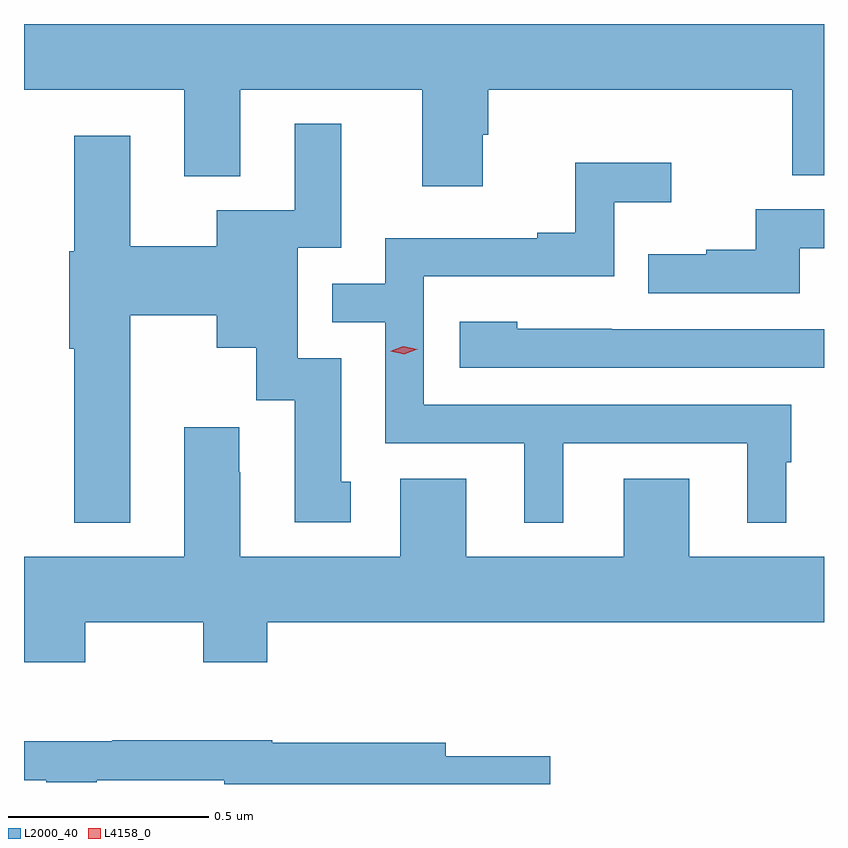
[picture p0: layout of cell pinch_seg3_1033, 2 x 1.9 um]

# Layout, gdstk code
import gdstk
lib = gdstk.Library(unit=1e-6, precision=1e-09)
def P(c, l, *ps):  # polygons
    for p in ps: c.add(gdstk.Polygon(p, *l))
L2000_40 = (2000, 40)
L4158_0 = (4158, 0)

pinch_seg3_1033 = lib.new_cell('pinch_seg3_1033')
P(pinch_seg3_1033, L2000_40, [(447.246,686.264),(447.647,686.264),(447.647,686.048),(447.787,686.048),(447.787,686.264),(448.241,686.264),(448.241,686.022),(448.393,686.022),(448.393,686.151),(448.406,686.151),(448.406,686.264),(449.166,686.264),(449.166,686.05),(449.246,686.05),(449.246,686.428),(447.246,686.428)],
  [(447.511,685.7),(447.728,685.7),(447.728,685.619),(447.827,685.619),(447.827,685.488),(447.923,685.488),(447.923,685.182),(448.063,685.182),(448.063,685.284),(448.039,685.284),(448.039,685.593),(447.93,685.593),(447.93,685.869),(448.039,685.869),(448.039,686.179),(447.923,686.179),(447.923,685.963),(447.728,685.963),(447.728,685.872),(447.511,685.872),(447.511,686.149),(447.371,686.149),(447.371,685.86),(447.359,685.86),(447.359,685.616),(447.371,685.616),(447.371,685.181),(447.511,685.181)],
  [(448.594,685.38),(449.054,685.38),(449.054,685.181),(449.152,685.181),(449.152,685.332),(449.164,685.332),(449.164,685.476),(448.245,685.476),(448.245,685.797),(448.722,685.797),(448.722,685.982),(448.864,685.982),(448.864,686.081),(448.624,686.081),(448.624,685.906),(448.529,685.906),(448.529,685.893),(448.149,685.893),(448.149,685.779),(448.016,685.779),(448.016,685.683),(448.149,685.683),(448.149,685.38),(448.496,685.38),(448.496,685.181),(448.594,685.181)],
  [(449.185,685.868),(449.246,685.868),(449.246,685.965),(449.075,685.965),(449.075,685.864),(448.951,685.864),(448.951,685.852),(448.807,685.852),(448.807,685.755),(449.185,685.755)],
  [(449.246,685.665),(448.715,685.665),(448.715,685.666),(448.479,685.666),(448.479,685.684),(448.335,685.684),(448.335,685.569),(449.246,685.569)],
  [(447.399,684.932),(447.694,684.932),(447.694,684.833),(447.854,684.833),(447.854,684.932),(449.246,684.932),(449.246,685.096),(448.909,685.096),(448.909,685.291),(448.745,685.291),(448.745,685.096),(448.351,685.096),(448.351,685.291),(448.187,685.291),(448.187,685.096),(447.787,685.096),(447.787,685.307),(447.784,685.307),(447.784,685.42),(447.647,685.42),(447.647,685.096),(447.246,685.096),(447.246,684.833),(447.399,684.833)],
  [(448.561,684.597),(448.3,684.597),(448.3,684.631),(447.867,684.631),(447.867,684.638),(447.467,684.638),(447.467,684.635),(447.246,684.635),(447.246,684.537),(447.301,684.537),(447.301,684.532),(447.428,684.532),(447.428,684.537),(447.746,684.537),(447.746,684.528),(448.561,684.528)])
P(pinch_seg3_1033, L4158_0, [(448.196,685.603),(448.161,685.61),(448.16,685.61),(448.161,685.61),(448.194,685.623),(448.229,685.615),(448.23,685.615),(448.229,685.615)])

lib.write_gds('pinch_seg3_1033.gds')
